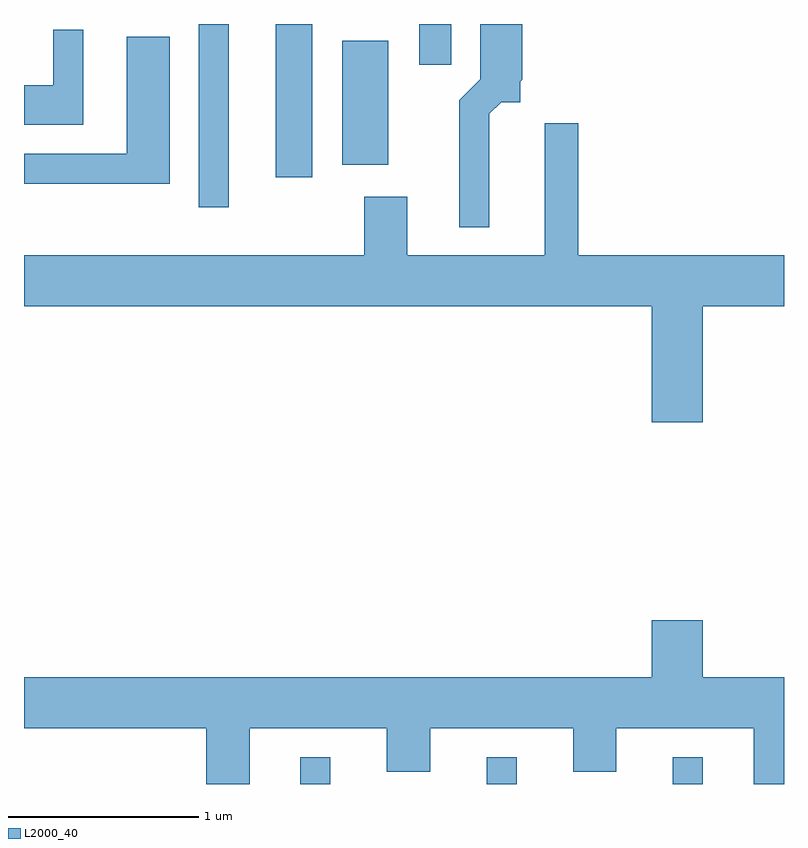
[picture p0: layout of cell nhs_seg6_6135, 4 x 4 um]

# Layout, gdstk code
import gdstk
lib = gdstk.Library(unit=1e-6, precision=1e-09)
def R(c, l, rs):  # rectangles x0, y0, x1, y1
    for r in rs: c.add(gdstk.rectangle(r[:2], r[2:], *l))
def A(c, l, x, y, w, h, nx, ny, dx, dy):  # array of equal rectangles
    R(c, l, [(x+i*dx, y+j*dy, x+i*dx+w, y+j*dy+h) for i in range(nx) for j in range(ny)])
def P(c, l, *ps):  # polygons
    for p in ps: c.add(gdstk.Polygon(p, *l))
L2000_40 = (2000, 40)

nhs_seg6_6135 = lib.new_cell('nhs_seg6_6135')
A(nhs_seg6_6135, L2000_40, 373.066, 1574.162, 0.158, 0.141, 3, 1, 0.98, 0)
R(nhs_seg6_6135, L2000_40, [(372.531,1577.198,372.689,1578.162), (372.936,1577.356,373.129,1578.162), (373.286,1577.421,373.529,1578.074), (373.691,1577.948,373.859,1578.162)])
P(nhs_seg6_6135, L2000_40, [(374.059,1577.689),(374.122,1577.751),(374.224,1577.751),(374.224,1577.859),(374.234,1577.869),(374.234,1578.162),(374.011,1578.162),(374.011,1577.872),(373.901,1577.762),(373.901,1577.093),(374.059,1577.093)],
  [(371.924,1578.133),(371.766,1578.133),(371.766,1577.839),(371.611,1577.839),(371.611,1577.631),(371.924,1577.631)],
  [(372.379,1578.094),(372.151,1578.094),(372.151,1577.479),(371.611,1577.479),(371.611,1577.321),(372.379,1577.321)],
  [(373.401,1577.254),(373.401,1576.944),(371.611,1576.944),(371.611,1576.676),(374.916,1576.676),(374.916,1576.066),(375.184,1576.066),(375.184,1576.676),(375.611,1576.676),(375.611,1576.944),(374.529,1576.944),(374.529,1577.639),(374.351,1577.639),(374.351,1576.944),(373.629,1576.944),(373.629,1577.254)],
  [(372.799,1574.456),(373.521,1574.456),(373.521,1574.226),(373.749,1574.226),(373.749,1574.456),(374.501,1574.456),(374.501,1574.226),(374.729,1574.226),(374.729,1574.456),(375.451,1574.456),(375.451,1574.162),(375.611,1574.162),(375.611,1574.724),(375.184,1574.724),(375.184,1575.024),(374.916,1575.024),(374.916,1574.724),(371.611,1574.724),(371.611,1574.456),(372.571,1574.456),(372.571,1574.162),(372.799,1574.162)])

lib.write_gds('nhs_seg6_6135.gds')
